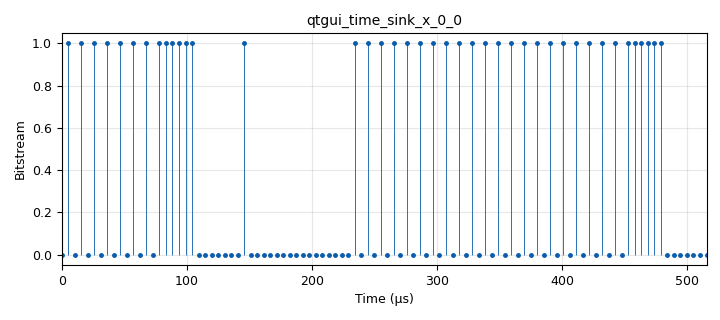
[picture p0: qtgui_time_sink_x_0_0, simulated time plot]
options:
  parameters:
    generate_options: qt_gui
    id: endurosat_e2e
    output_language: python
    title: Not titled yet
  states: {}

blocks:
- name: baud_bit
  id: variable
  parameters:
    value: '19200'
  states: {}
- name: baud_byte
  id: variable
  parameters:
    value: baud_bit/8
  states: {}
- name: center_freq
  id: variable
  parameters:
    value: '435000000'
  states: {}
- name: fsk_dev
  id: variable
  parameters:
    value: '4800'
  states: {}
- name: rx_gain
  id: variable
  parameters:
    value: '20'
  states: {}
- name: sensitivity
  id: variable
  parameters:
    value: 2*3.14159*(fsk_dev/(baud_bit*spsym))
  states: {}
- name: spsym
  id: variable
  parameters:
    value: '100'
  states: {}
- name: tx_gain
  id: variable
  parameters:
    value: '0.8'
  states: {}
- name: blocks_message_debug_0
  id: blocks_message_debug
  parameters: {}
  states: {}
- name: blocks_pack_k_bits_bb_0
  id: blocks_pack_k_bits_bb
  parameters:
    k: '8'
  states: {state: bypassed}
- name: blocks_socket_pdu_0
  id: blocks_socket_pdu
  parameters:
    host: 127.0.0.1
    mtu: '10000'
    port: '4321'
    tcp_no_delay: 'False'
    type: TCP_CLIENT
  states: {state: disabled}
- name: blocks_throttle2_0
  id: blocks_throttle2
  parameters:
    samples_per_second: baud_bit
    type: byte
  states: {}
- name: blocks_uchar_to_float_0_0
  id: blocks_uchar_to_float
  parameters: {}
  states: {}
- name: blocks_uchar_to_float_0_0_1
  id: blocks_uchar_to_float
  parameters: {}
  states: {state: disabled}
- name: blocks_vector_source_x_0_0
  id: blocks_vector_source_x
  parameters:
    repeat: 'True'
    type: byte
    vector: (0x55, 0x55, 0x55, 0x55, 0x55, 0x7E, 0x02, 0x00, 0x01)
  states: {}
- name: digital_gfsk_demod_0
  id: digital_gfsk_demod
  parameters:
    freq_error: '0.0'
    gain_mu: '0.175'
    mu: '0.5'
    omega_relative_limit: '0.005'
    samples_per_symbol: spsym
    sensitivity: sensitivity
  states: {}
- name: digital_gfsk_mod_0_0
  id: digital_gfsk_mod
  parameters:
    bt: '0.5'
    samples_per_symbol: spsym
    sensitivity: sensitivity
  states: {}
- name: qtgui_time_sink_x_0_0
  id: qtgui_time_sink_x
  parameters:
    autoscale: 'True'
    entags: 'False'
    size: int(100)
    srate: baud_bit*10
    stemplot: 'True'
    type: float
    update_time: '0.5'
    ylabel: Bitstream
    ymax: '1.5'
    ymin: '-0.5'
  states: {}
- name: satellites_ax25_deframer_0
  id: satellites_ax25_deframer
  parameters:
    g3ruh_scrambler: 'True'
  states: {state: disabled}
- name: satellites_sync_to_pdu_packed_0_0
  id: satellites_sync_to_pdu_packed
  parameters:
    packlen: '3'
    sync: '''01111110'''
    threshold: '0'
  states: {}

connections:
- [blocks_pack_k_bits_bb_0, '0', blocks_uchar_to_float_0_0, '0']
- [blocks_throttle2_0, '0', digital_gfsk_mod_0_0, '0']
- [blocks_uchar_to_float_0_0, '0', qtgui_time_sink_x_0_0, '0']
- [blocks_uchar_to_float_0_0_1, '0', satellites_ax25_deframer_0, '0']
- [blocks_vector_source_x_0_0, '0', blocks_throttle2_0, '0']
- [digital_gfsk_demod_0, '0', blocks_pack_k_bits_bb_0, '0']
- [digital_gfsk_demod_0, '0', blocks_uchar_to_float_0_0_1, '0']
- [digital_gfsk_demod_0, '0', satellites_sync_to_pdu_packed_0_0, '0']
- [digital_gfsk_mod_0_0, '0', digital_gfsk_demod_0, '0']
- [satellites_sync_to_pdu_packed_0_0, out, blocks_message_debug_0, print]
- [satellites_sync_to_pdu_packed_0_0, out, blocks_socket_pdu_0, pdus]

metadata:
  file_format: 1
  grc_version: 3.10.6.0
